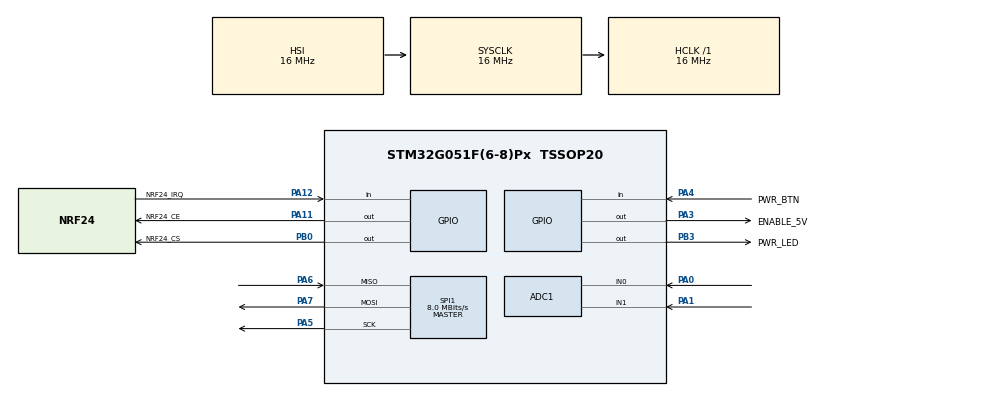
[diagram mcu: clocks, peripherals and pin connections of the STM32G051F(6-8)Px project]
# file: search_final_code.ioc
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ADC1.Channel-0\#ChannelRegularConversion=ADC_CHANNEL_0
ADC1.NbrOfConversionFlag=1
ADC1.Rank-0\#ChannelRegularConversion=1
ADC1.SamplingTime-0\#ChannelRegularConversion=ADC_SAMPLINGTIME_COMMON_1
ADC1.SelectedChannel=ADC_CHANNEL_0|ADC_CHANNEL_1
ADC1.master=1
Mcu.Family=STM32G0
Mcu.Name=STM32G051F(6-8)Px
Mcu.Package=TSSOP20
PA0.Mode=IN0
PA0.Signal=ADC1_IN0
PA1.Mode=IN1
PA1.Signal=ADC1_IN1
PA11\ [PA9].GPIO_Label=NRF24_CE
PA11\ [PA9].Signal=GPIO_Output
PA12\ [PA10].GPIO_Label=NRF24_IRQ
PA12\ [PA10].Signal=GPIO_Input
PA13.Mode=Serial_Wire
PA13.Signal=SYS_SWDIO
PA14-BOOT0.Mode=Serial_Wire
PA14-BOOT0.Signal=SYS_SWCLK
PA14-BOOT0__PA15.StandardMode=true
PA3.GPIO_Label=ENABLE_5V
PA3.Signal=GPIO_Output
PA4.GPIO_Label=PWR_BTN
PA4.Signal=GPIO_Input
PA5.Mode=Full_Duplex_Master
PA5.Signal=SPI1_SCK
PA6.Mode=Full_Duplex_Master
PA6.Signal=SPI1_MISO
PA7.Mode=Full_Duplex_Master
PA7.Signal=SPI1_MOSI
PB0.GPIO_Label=NRF24_CS
PB0.Signal=GPIO_Output
PB0__PB1__PB2__PA8.StandardMode=true
PB3.GPIO_Label=PWR_LED
PB3.GPIO_ModeDefaultOutputPP=GPIO_MODE_OUTPUT_PP
PB3.Signal=GPIO_Output
PB3__PB4__PB5__PB6.StandardMode=true
PB7__PB8.StandardMode=true
PC14-OSC32_IN\ (PC14)__PB9.StandardMode=true
ProjectManager.HeapSize=0x200
ProjectManager.StackSize=0x400
ProjectManager.TargetToolchain=STM32CubeIDE
RCC.AHBFreq_Value=16000000
RCC.CortexFreq_Value=16000000
RCC.EXTERNAL_CLOCK_VALUE=48000
RCC.HCLKFreq_Value=16000000
RCC.HSE_VALUE=8000000
RCC.HSI_VALUE=16000000
RCC.LSE_VALUE=32768
RCC.SYSCLKFreq_VALUE=16000000
RCC.VCOOutputFreq_Value=128000000
SPI1.CalculateBaudRate=8.0 MBits/s
SPI1.Direction=SPI_DIRECTION_2LINES
SPI1.Mode=SPI_MODE_MASTER
SPI1.VirtualType=VM_MASTER
VP_SYS_VS_DBSignals.Mode=DisableDeadBatterySignals
board=custom

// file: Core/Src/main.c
/* USER CODE BEGIN Header */
/**
  ******************************************************************************
  * @file           : main.c
  * @brief          : Main program body
  ******************************************************************************
  * @attention
  *
  * Copyright (c) 2024 STMicroelectronics.
  * All rights reserved.
  *
  * This software is licensed under terms that can be found in the LICENSE file
  * in the root directory of this software component.
  * If no LICENSE file comes with this software, it is provided AS-IS.
  *
  ******************************************************************************
  */
/* USER CODE END Header */
#include "main.h"

/* USER CODE BEGIN Includes */
#include <string.h>
#include <stdbool.h>
#include "wireless.h"
/* USER CODE END Includes */

ADC_HandleTypeDef hadc1;

SPI_HandleTypeDef hspi1;

void SystemClock_Config(void);
static void MX_GPIO_Init(void);
static void MX_ADC1_Init(void);
static void MX_SPI1_Init(void);

int main(void)
{

  /* MCU Configuration--------------------------------------------------------*/

  /* Reset of all peripherals, Initializes the Flash interface and the Systick. */
  HAL_Init();

  /* Configure the system clock */
  SystemClock_Config();

  /* Initialize all configured peripherals */
  MX_GPIO_Init();
  MX_ADC1_Init();
  MX_SPI1_Init();
  /* USER CODE BEGIN 2 */

  HAL_GPIO_WritePin(ENABLE_5V_GPIO_Port, ENABLE_5V_Pin, GPIO_PIN_SET);	//turn on methane sensor heater and sensing op-amp
  HAL_GPIO_WritePin(PWR_LED_GPIO_Port, PWR_LED_Pin, GPIO_PIN_SET);

  bool powerButtonLastHeld = false;
  uint32_t powerButtonHeldAtTime = 0;
  /* USER CODE END 2 */

  /* Infinite loop */
  /* USER CODE BEGIN WHILE */
  while (1)
  {
	  // Check if power button is pressed
	  if (HAL_GPIO_ReadPin(PWR_BTN_GPIO_Port, PWR_BTN_Pin)) {
		  // If so, and it wasn't previously held, start the holding timer
		  if (!powerButtonLastHeld) {
			  powerButtonHeldAtTime = HAL_GetTick();
		  }
		  powerButtonLastHeld = true;
		  // If 2 seconds have passed since the button was held, turn off the device
		  if ((HAL_GetTick() - powerButtonHeldAtTime) > 2000) {
			  //Turn off everything
			  HAL_GPIO_WritePin(PWR_LED_GPIO_Port, PWR_LED_Pin, GPIO_PIN_RESET);
			  HAL_GPIO_WritePin(ENABLE_5V_GPIO_Port, ENABLE_5V_Pin, GPIO_PIN_RESET);
			  HAL_Delay(3000);	//wait 3 seconds so power button doesnt immediately wake up device

			  //Wait for power button press again to reset program
			  while (1) {
				  if (HAL_GPIO_ReadPin(PWR_BTN_GPIO_Port, PWR_BTN_Pin)) {
					  NVIC_SystemReset();
				  }
				  HAL_Delay(500);
			  }
		  }
	  }
	  // If not pressed, reset the timer.
	  else {
		  powerButtonLastHeld = false;
	  }

	  HAL_Delay(100);	// We really don't need power button checking code to run at full speed do we now?
    /* USER CODE END WHILE */

  }
}

void SystemClock_Config(void)
{
  RCC_OscInitTypeDef RCC_OscInitStruct = {0};
  RCC_ClkInitTypeDef RCC_ClkInitStruct = {0};

  /** Configure the main internal regulator output voltage
  */
  HAL_PWREx_ControlVoltageScaling(PWR_REGULATOR_VOLTAGE_SCALE1);

  /** Initializes the RCC Oscillators according to the specified parameters
  * in the RCC_OscInitTypeDef structure.
  */
  RCC_OscInitStruct.OscillatorType = RCC_OSCILLATORTYPE_HSI;
  RCC_OscInitStruct.HSIState = RCC_HSI_ON;
  RCC_OscInitStruct.HSIDiv = RCC_HSI_DIV1;
  RCC_OscInitStruct.HSICalibrationValue = RCC_HSICALIBRATION_DEFAULT;
  RCC_OscInitStruct.PLL.PLLState = RCC_PLL_NONE;
  if (HAL_RCC_OscConfig(&RCC_OscInitStruct) != HAL_OK)
  {
    Error_Handler();
  }

  /** Initializes the CPU, AHB and APB buses clocks
  */
  RCC_ClkInitStruct.ClockType = RCC_CLOCKTYPE_HCLK|RCC_CLOCKTYPE_SYSCLK
                              |RCC_CLOCKTYPE_PCLK1;
  RCC_ClkInitStruct.SYSCLKSource = RCC_SYSCLKSOURCE_HSI;
  RCC_ClkInitStruct.AHBCLKDivider = RCC_SYSCLK_DIV1;
  RCC_ClkInitStruct.APB1CLKDivider = RCC_HCLK_DIV1;

  if (HAL_RCC_ClockConfig(&RCC_ClkInitStruct, FLASH_LATENCY_0) != HAL_OK)
  {
    Error_Handler();
  }
}

static void MX_ADC1_Init(void)
{

  ADC_ChannelConfTypeDef sConfig = {0};

  /** Configure the global features of the ADC (Clock, Resolution, Data Alignment and number of conversion)
  */
  hadc1.Instance = ADC1;
  hadc1.Init.ClockPrescaler = ADC_CLOCK_SYNC_PCLK_DIV2;
  hadc1.Init.Resolution = ADC_RESOLUTION_12B;
  hadc1.Init.DataAlign = ADC_DATAALIGN_RIGHT;
  hadc1.Init.ScanConvMode = ADC_SCAN_DISABLE;
  hadc1.Init.EOCSelection = ADC_EOC_SINGLE_CONV;
  hadc1.Init.LowPowerAutoWait = DISABLE;
  hadc1.Init.LowPowerAutoPowerOff = DISABLE;
  hadc1.Init.ContinuousConvMode = DISABLE;
  hadc1.Init.NbrOfConversion = 1;
  hadc1.Init.DiscontinuousConvMode = DISABLE;
  hadc1.Init.ExternalTrigConv = ADC_SOFTWARE_START;
  hadc1.Init.ExternalTrigConvEdge = ADC_EXTERNALTRIGCONVEDGE_NONE;
  hadc1.Init.DMAContinuousRequests = DISABLE;
  hadc1.Init.Overrun = ADC_OVR_DATA_PRESERVED;
  hadc1.Init.SamplingTimeCommon1 = ADC_SAMPLETIME_1CYCLE_5;
  hadc1.Init.SamplingTimeCommon2 = ADC_SAMPLETIME_1CYCLE_5;
  hadc1.Init.OversamplingMode = DISABLE;
  hadc1.Init.TriggerFrequencyMode = ADC_TRIGGER_FREQ_HIGH;
  if (HAL_ADC_Init(&hadc1) != HAL_OK)
  {
    Error_Handler();
  }

  /** Configure Regular Channel
  */
  sConfig.Channel = ADC_CHANNEL_0;
  sConfig.Rank = ADC_REGULAR_RANK_1;
  sConfig.SamplingTime = ADC_SAMPLINGTIME_COMMON_1;
  if (HAL_ADC_ConfigChannel(&hadc1, &sConfig) != HAL_OK)
  {
    Error_Handler();
  }

}

static void MX_SPI1_Init(void)
{

  /* SPI1 parameter configuration*/
  hspi1.Instance = SPI1;
  hspi1.Init.Mode = SPI_MODE_MASTER;
  hspi1.Init.Direction = SPI_DIRECTION_2LINES;
  hspi1.Init.DataSize = SPI_DATASIZE_8BIT;
  hspi1.Init.CLKPolarity = SPI_POLARITY_LOW;
  hspi1.Init.CLKPhase = SPI_PHASE_1EDGE;
  hspi1.Init.NSS = SPI_NSS_SOFT;
  hspi1.Init.BaudRatePrescaler = SPI_BAUDRATEPRESCALER_2;
  hspi1.Init.FirstBit = SPI_FIRSTBIT_MSB;
  hspi1.Init.TIMode = SPI_TIMODE_DISABLE;
  hspi1.Init.CRCCalculation = SPI_CRCCALCULATION_DISABLE;
  hspi1.Init.CRCPolynomial = 7;
  hspi1.Init.CRCLength = SPI_CRC_LENGTH_DATASIZE;
  hspi1.Init.NSSPMode = SPI_NSS_PULSE_ENABLE;
  if (HAL_SPI_Init(&hspi1) != HAL_OK)
  {
    Error_Handler();
  }

}

static void MX_GPIO_Init(void)
{
  GPIO_InitTypeDef GPIO_InitStruct = {0};

  /* GPIO Ports Clock Enable */
  __HAL_RCC_GPIOA_CLK_ENABLE();
  __HAL_RCC_GPIOB_CLK_ENABLE();

  /*Configure GPIO pin Output Level */
  HAL_GPIO_WritePin(GPIOA, ENABLE_5V_Pin|NRF24_CE_Pin, GPIO_PIN_RESET);

  /*Configure GPIO pin Output Level */
  HAL_GPIO_WritePin(GPIOB, NRF24_CS_Pin|PWR_LED_Pin, GPIO_PIN_RESET);

  /*Configure GPIO pins : ENABLE_5V_Pin NRF24_CE_Pin */
  GPIO_InitStruct.Pin = ENABLE_5V_Pin|NRF24_CE_Pin;
  GPIO_InitStruct.Mode = GPIO_MODE_OUTPUT_PP;
  GPIO_InitStruct.Pull = GPIO_NOPULL;
  GPIO_InitStruct.Speed = GPIO_SPEED_FREQ_LOW;
  HAL_GPIO_Init(GPIOA, &GPIO_InitStruct);

  /*Configure GPIO pins : PWR_BTN_Pin NRF24_IRQ_Pin */
  GPIO_InitStruct.Pin = PWR_BTN_Pin|NRF24_IRQ_Pin;
  GPIO_InitStruct.Mode = GPIO_MODE_INPUT;
  GPIO_InitStruct.Pull = GPIO_NOPULL;
  HAL_GPIO_Init(GPIOA, &GPIO_InitStruct);

  /*Configure GPIO pins : NRF24_CS_Pin PWR_LED_Pin */
  GPIO_InitStruct.Pin = NRF24_CS_Pin|PWR_LED_Pin;
  GPIO_InitStruct.Mode = GPIO_MODE_OUTPUT_PP;
  GPIO_InitStruct.Pull = GPIO_NOPULL;
  GPIO_InitStruct.Speed = GPIO_SPEED_FREQ_LOW;
  HAL_GPIO_Init(GPIOB, &GPIO_InitStruct);

}

void Error_Handler(void)
{
  __disable_irq();
  while (1)
  {
  }
}
